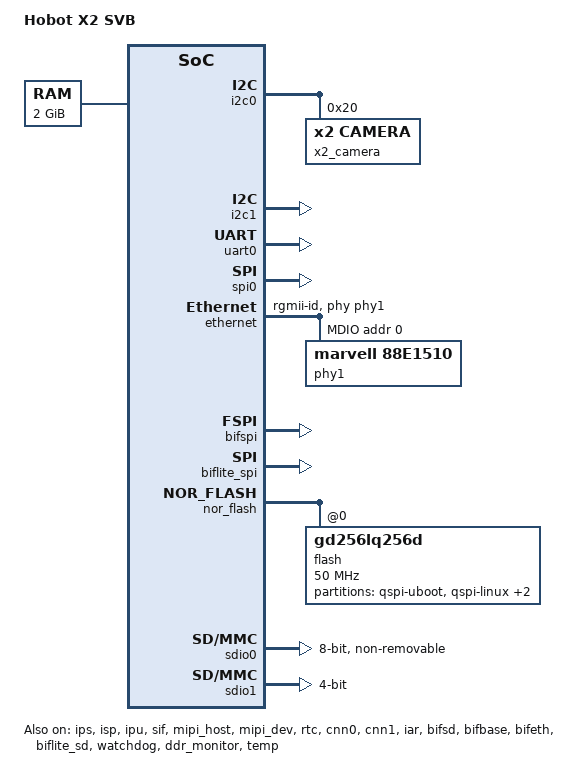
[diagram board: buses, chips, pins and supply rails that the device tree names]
/*
 * dts file for Hobot X2 FPGA
 *
 * (C) Copyright 2018, Horizon, Inc.
 *
 *
 * This program is free software; you can redistribute it and/or
 * modify it under the terms of the GNU General Public License as
 * published by the Free Software Foundation; either version 2 of
 * the License, or (at your option) any later version.
 */

/dts-v1/;
#include "hobot.dtsi"
#include "hobot-pinctrl.dtsi"
#include "hobot-clk-x2.dtsi"
#include "memory-2g.dtsi"
#include <dt-bindings/gpio/gpio.h>
#include <dt-bindings/phy/phy.h>

/ {
	model = "Hobot X2 SVB";
	compatible = "hobot,x2-fpga";

	aliases {
		serial0 = &uart0;
		serial1 = &uart1;
		serial2 = &uart2;
		serial3 = &uart3;
		i2c0	= &i2c0;
		i2c1	= &i2c1;
		i2c2	= &i2c2;
		i2c3	= &i2c3;
		i2s0	= &i2s0;
		i2s1	= &i2s1;
		pwm0	= &pwm_0;
		pwm1	= &pwm_1;
		pwm2	= &pwm_2;
		bifsd	= &bifsd;
		bifspi	= &bifspi;
		mmc1	= &sdio0;
		mmc2	= &sdio1;
	};

	chosen {
		bootargs = "earlycon loglevel=8 console=ttyS0 clk_ignore_unused";
		stdout-path = "serial0:115200n8";
	};

	memory@0 {
		device_type = "memory";
		reg = <0x0 0x0 0x0 0x80000000>;
	};

};

&i2c0 {
	status = "okay";
	#address-cells = <1>;
	#size-cells = <0>;
	x2_camera@0x20 {
	    compatible = "x2,camera";
	    reg = <0x20>;
	};
};

&i2c1 {
	status = "okay";
};

&pinctrl {
	status = "okay";
	gpioirq-bank-cfg = <118 0 0 0>;	//svb zu3
};

&uart0 {
	status = "okay";
	clocks = <&uart0_mclk>;
	clock-names = "uart_mclk";
};

&ips {
	pinctrl-names = "bt_func", "dvp_func";
	pinctrl-0 = <&btin_func &btout_func>;
	pinctrl-1 = <&dvpin_func &dvpout_func>;
	status = "okay";
};

&isp {
	status = "okay";
};

&ipu {
	status = "okay";
};

&sif {
	status = "okay";
};
&mipi_host {
	status = "okay";
};

&mipi_dev {
	status = "okay";
};

&dma {
	status = "okay";
};

&x2dmatest {
	status = "disabled";
};

&rtc {
	status = "okay";
};

&pwm_0 {
	status = "disabled";
};

&spi0 {
	status = "okay";
};

&ethernet {
	status = "okay";

	pinctrl-names = "default";
	pinctrl-0 = <&eth_func>;

	/* local-mac-address = [ 00 11 22 33 44 55 ]; */
	phy-handle = <&phy1>;
	phy-mode = "rgmii-id";
	mdio {
		#address-cells = <0x1>;
		#size-cells = <0x0>;
		phy1: phy@0 {
			compatible = "marvell,88E1510","ethernet-phy-ieee802.3-c22";
			reg = <0x0>;
		};
	};
};

&cnn0 {
	status = "okay";
};

&cnn1 {
	status = "okay";
};

&iar {
	status = "okay";
};

&bifspi {
	status = "okay";
};

&bifsd {
	status = "okay";
	cd-gpio = <91>;
};

&bifbase {
	/*x2-soc: GPIO7[8]: 118, GPIO07[7]: 117*/
	status = "okay";
	bifbase_irq_pin = <118>;
	bifbase_tri_pin = <117>;
};

&bifeth {
	status = "okay";
};

&biflite_spi {
	status = "okay";
};
&biflite_sd {
	status = "okay";
};

&nor_flash {
	status = "okay";
	#address-cells = <1>;
	#size-cells = <0>;
	qspi-mode = <4>;

	flash@0 {
		compatible = "gd256lq256d";
		#address-cells = <1>;
		#size-cells = <1>;
		reg = <0x0>;
		spi-tx-bus-width = <4>;
		spi-rx-bus-width = <4>;
		spi-max-frequency = <50000000>; /* For FPGA max clk is 20Mhz */

		partition@qspi-uboot {
			label = "qspi-uboot";
			reg = <0x200000 0x200000>;
		};
		partition@qspi-linux {
			label = "qspi-linux";
			reg = <0x400000 0x1000000>;
		};
		partition@qspi-device-tree {
			label = "qspi-device-tree";
			reg = <0x1400000 0x100000>;
		};
		partition@qspi-rootfs {
			label = "qspi-rootfs";
			reg = <0x1500000 0x500000>;
		};
	};
};

&nand_flash {
	status = "disabled";
	#address-cells = <1>;
	#size-cells = <0>;
	qspi-mode = <4>;

	spi-nand@0 {
		compatible = "spi-nand";
		#address-cells = <1>;
		#size-cells = <1>;
		reg = <0x0>;
		spi-tx-bus-width = <4>;
		spi-rx-bus-width = <4>;
		spi-max-frequency = <50000000>; /* For FPGA max clk is 20Mhz */

		bootloader@0 {
			label = "bootloader";
			reg = <0 0x300000>;
		};
		sys@300000 {
			label = "sys";
			reg = <0x300000 0xA00000>;
		};
		rootfs@D00000 {
			label = "rootfs";
			reg = <0xD00000 0>;
		};
	};
};

&sdio0 {
	status = "okay";
	bus-width = <8>;
	clock-freq-min-max = <100000 200000000>;
	cap-mmc-highspeed;
	mmc-hs200-1_8v;
	non-removable;
	disable-wp;
};

&sdio1 {
	status = "okay";
	bus-width = <4>;
	no-mmc;
	no-sdio;
	cap-sd-highspeed;
	sd-uhs-sdr12;
	sd-uhs-sdr25;
	sd-uhs-sdr50;
	sd-uhs-sdr104;
	//powerup-gpio = <85>;
	//uhs-180v-gpio = <86>;
	broken-cd;
	disable-wp;
};


&watchdog {
	status = "okay";
};

&i2s0 {
	status = "disabled";
};

&i2s1 {
	status = "disabled";
};

&ddr_monitor {
	status = "okay";
};

&temp {
	status = "okay";
};
